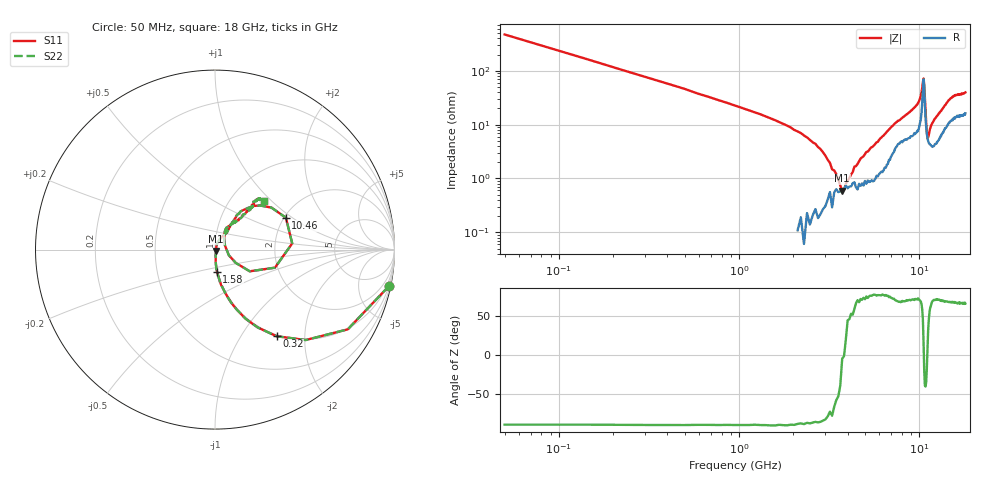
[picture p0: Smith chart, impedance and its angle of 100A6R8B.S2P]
!  American Technical Ceramics  Date:  3/13/98
!  One Norden Lane
!  Huntington Station,  NY.  11746-2102
!  Tel:  (516) 547-5700  Fax:  (516) 547-5748
!  Part Number  100A6R8B
!  Description: Porcelain, High Q, Low ESR
!  Application: Bypass, Coupling, Timing, Feedback
!  Tuning, Impedance Match, Blocking
# GHZ S DB R 50
! Freq  |S11|  S11 Ph  |S21|  S21 Ph  |S12|  S12 Ph  |S22|  S22 Ph
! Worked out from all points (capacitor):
!   201 points, 50 MHz to 18 GHz, reference 50 ohm
!   read as one part in series: C = 6.81 pF near 140 MHz
!   lowest |Z| = 590 mohm at 3.73 GHz (marker M1)
!   series resonance near 3.826 GHz, so ESL is about 250 pH
!   S11 on the Smith chart (normalised r, x): 50 MHz: 0.48, -9.56; 320 MHz: 0.98, -1.45; 1.58 GHz: 0.99, -0.25; 10.46 GHz: 2.04, +0.89; 18 GHz: 1.41, +0.89
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0.05  -0.09 -11.9  -13.58 78.1  -13.58 78.1  -0.09 -11.9
0.14  -1.28 -31.0  -5.82 59.1  -5.82 59.1  -1.28 -31.0
0.32  -4.55 -54.6  -1.80 35.9  -1.80 35.9  -4.55 -54.6
0.68  -10.14 -72.9  -0.46 18.1  -0.46 18.1  -10.14 -72.9
1.58  -18.20 -85.1  -0.06 6.8  -0.06 6.8  -18.20 -85.1
3.1  -32.02 -80.3  -0.04 1.1  -0.04 1.1  -32.02 -80.3
3.73  -39.64 -47.3  -0.04 -0.4  -0.04 -0.4  -39.64 -47.3
4  -42.60 -9.2  -0.05 -0.8  -0.05 -0.8  -42.60 -9.2
4.27  -42.50 18.1  -0.08 -1.0  -0.08 -1.0  -42.50 18.1
6.06  -28.44 69.1  -0.13 -4.0  -0.13 -4.0  -28.44 69.1
7.41  -20.01 56.6  -0.27 -6.3  -0.27 -6.3  -20.01 56.6
9.03  -14.42 57.2  -0.44 -8.6  -0.44 -8.6  -14.42 57.2
10.1  -10.54 51.5  -0.92 -13.8  -0.92 -13.8  -10.54 51.5
10.46  -7.27 24.2  -3.18 -17.9  -3.18 -17.9  -7.27 24.2
10.55  -7.30 4.6  -4.49 -8.3  -4.49 -8.3  -7.30 4.6
10.64  -9.15 -16.8  -3.77 6.5  -3.77 6.5  -9.15 -16.8
10.82  -17.23 -32.6  -1.28 7.1  -1.28 7.1  -17.23 -32.6
11  -24.09 5.1  -0.59 2.7  -0.59 2.7  -24.09 5.1
11.54  -19.24 60.0  -0.31 -2.9  -0.31 -2.9  -19.24 60.0
12.08  -17.20 62.2  -0.29 -5.4  -0.29 -5.4  -17.20 62.2
15.04  -9.85 50.4  -0.84 -12.3  -0.84 -12.3  -9.85 50.4
18  -8.34 44.9  -1.15 -15.2  -1.15 -15.2  -8.34 44.9
